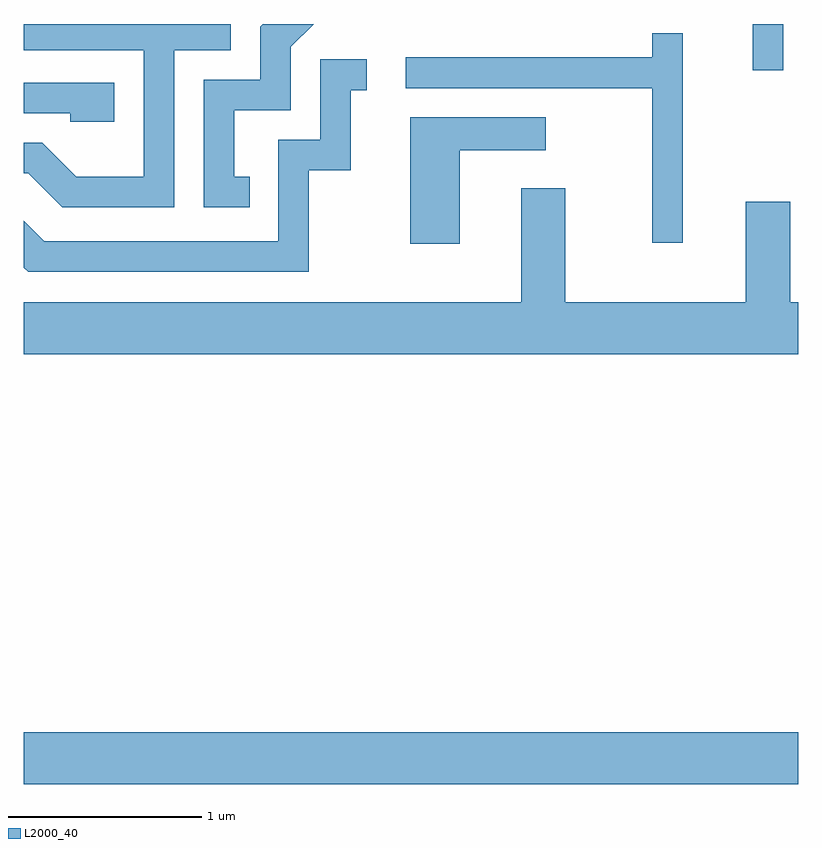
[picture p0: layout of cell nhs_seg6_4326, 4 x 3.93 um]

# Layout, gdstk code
import gdstk
lib = gdstk.Library(unit=1e-6, precision=1e-09)
def R(c, l, rs):  # rectangles x0, y0, x1, y1
    for r in rs: c.add(gdstk.rectangle(r[:2], r[2:], *l))
def P(c, l, *ps):  # polygons
    for p in ps: c.add(gdstk.Polygon(p, *l))
L2000_40 = (2000, 40)

nhs_seg6_4326 = lib.new_cell('nhs_seg6_4326')
R(nhs_seg6_4326, L2000_40, [(317.611,1572.236,321.611,1572.504), (321.376,1575.923,321.534,1576.162)])
P(nhs_seg6_4326, L2000_40, [(318.778,1575.374),(318.699,1575.374),(318.699,1575.716),(318.989,1575.716),(318.989,1576.044),(319.108,1576.162),(318.846,1576.162),(318.831,1576.147),(318.831,1575.874),(318.541,1575.874),(318.541,1575.216),(318.778,1575.216)],
  [(318.389,1576.026),(318.679,1576.026),(318.679,1576.162),(317.611,1576.162),(317.611,1576.026),(318.231,1576.026),(318.231,1575.374),(317.882,1575.374),(317.707,1575.549),(317.611,1575.549),(317.611,1575.391),(317.634,1575.391),(317.809,1575.216),(318.389,1575.216)],
  [(321.014,1576.113),(320.856,1576.113),(320.856,1575.989),(319.583,1575.989),(319.583,1575.831),(320.856,1575.831),(320.856,1575.033),(321.014,1575.033)],
  [(319.084,1575.406),(319.299,1575.406),(319.299,1575.821),(319.383,1575.821),(319.383,1575.979),(319.141,1575.979),(319.141,1575.564),(318.926,1575.564),(318.926,1575.039),(317.717,1575.039),(317.611,1575.145),(317.611,1574.904),(317.634,1574.881),(319.084,1574.881)],
  [(318.079,1575.859),(317.611,1575.859),(317.611,1575.701),(317.851,1575.701),(317.851,1575.656),(318.079,1575.656)],
  [(319.864,1575.511),(320.308,1575.511),(320.308,1575.679),(319.606,1575.679),(319.606,1575.026),(319.864,1575.026)],
  [(321.611,1574.724),(321.569,1574.724),(321.569,1575.244),(321.341,1575.244),(321.341,1574.724),(320.409,1574.724),(320.409,1575.314),(320.181,1575.314),(320.181,1574.724),(317.611,1574.724),(317.611,1574.456),(321.611,1574.456)])

lib.write_gds('nhs_seg6_4326.gds')
